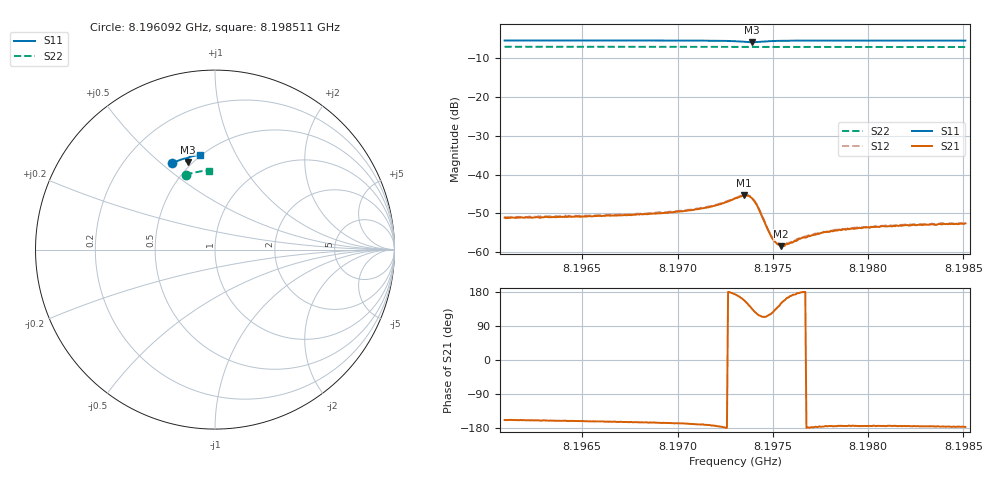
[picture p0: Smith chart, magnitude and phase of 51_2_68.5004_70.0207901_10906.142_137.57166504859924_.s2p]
#  HZ  S  RI  R  50.00
! Rohde & Schwarz Vector Network Analyzer
! Rohde-Schwarz,ZNB20-2Port,1311601062101988,3.16
! Created: UTC 3/20/2024, 4:50:50 PM
! freq[Hz]  re:S11  im:S11  re:S21  im:S21  re:S12  im:S12  re:S22  im:S22
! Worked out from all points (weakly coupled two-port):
!   401 points, 8.196092 GHz to 8.198511 GHz, reference 50 ohm
!   highest |S21| = -45.36 dB at 8.19735 GHz (marker M1); lowest = -58.5 dB at 8.197543 GHz (marker M2)
!   lowest |S11| = -5.8 dB at 8.197392 GHz (marker M3), VSWR 3.08, Z = 23.7 + j31.3 ohm
!   |S11| at or under -10 dB: nowhere
!   |S22| runs from -7.1 to -7.0 dB; largest |S21 - S12| = 0.00028
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8.1960922e9  -0.2409 0.4801  -0.00259 -0.00103  -0.00265 -0.000948  -0.1639 0.4147
8.1964973e9  -0.214 0.4922  -0.00272 -0.000919  -0.00281 -0.000808  -0.1424 0.4218
8.1969024e9  -0.1858 0.5027  -0.00306 -0.000778  -0.00321 -0.000703  -0.1205 0.4277
8.1970536e9  -0.1739 0.5061  -0.00337 -0.000714  -0.00346 -0.000568  -0.112 0.4296
8.1971503e9  -0.1655 0.5076  -0.0037 -0.000581  -0.00379 -0.000444  -0.1067 0.4309
8.1972169e9  -0.1586 0.5079  -0.00409 -0.000338  -0.00417 -0.000187  -0.1029 0.4317
8.1973015e9  -0.1478 0.5043  -0.00489 0.000558  -0.00493 0.000782  -0.0983 0.4325
8.1973499e9  -0.1436 0.496  -0.00498 0.00208  -0.00498 0.00234  -0.0958 0.4327
8.1973741e9  -0.1458 0.4904  -0.00432 0.00309  -0.00424 0.00329  -0.0946 0.4329
8.1973922e9  -0.15 0.4877  -0.00343 0.00351  -0.00333 0.00369  -0.0935 0.433
8.1974224e9  -0.1577 0.4894  -0.00185 0.00328  -0.00178 0.00341  -0.0922 0.4333
8.1974769e9  -0.1607 0.5002  -0.000873 0.00167  -0.0008 0.00172  -0.0892 0.4342
8.197495e9  -0.1596 0.503  -0.000854 0.00127  -0.000821 0.00135  -0.0882 0.4345
8.1975192e9  -0.1575 0.506  -0.000943 0.000901  -0.000918 0.000945  -0.0869 0.4348
8.1975434e9  -0.1554 0.5083  -0.00103 0.000599  -0.00103 0.000662  -0.0856 0.4351
8.1975676e9  -0.1529 0.51  -0.0012 0.000434  -0.00119 0.000492  -0.0843 0.4353
8.1976462e9  -0.1458 0.514  -0.00149 4.96e-05  -0.00151 0.000139  -0.0797 0.4361
8.1977066e9  -0.1406 0.516  -0.00165 -7.58e-05  -0.00167 3.19e-06  -0.0764 0.4365
8.197761e9  -0.1363 0.5175  -0.00178 -0.000136  -0.0018 -9.75e-05  -0.0734 0.4369
8.1978638e9  -0.1283 0.5197  -0.00193 -0.000209  -0.00198 -0.000135  -0.0676 0.4377
8.1981117e9  -0.11 0.5238  -0.00215 -0.000236  -0.00219 -0.000141  -0.0537 0.4393
8.1985108e9  -0.0813 0.5287  -0.00234 -0.000133  -0.00236 -7.33e-05  -0.0311 0.4406
